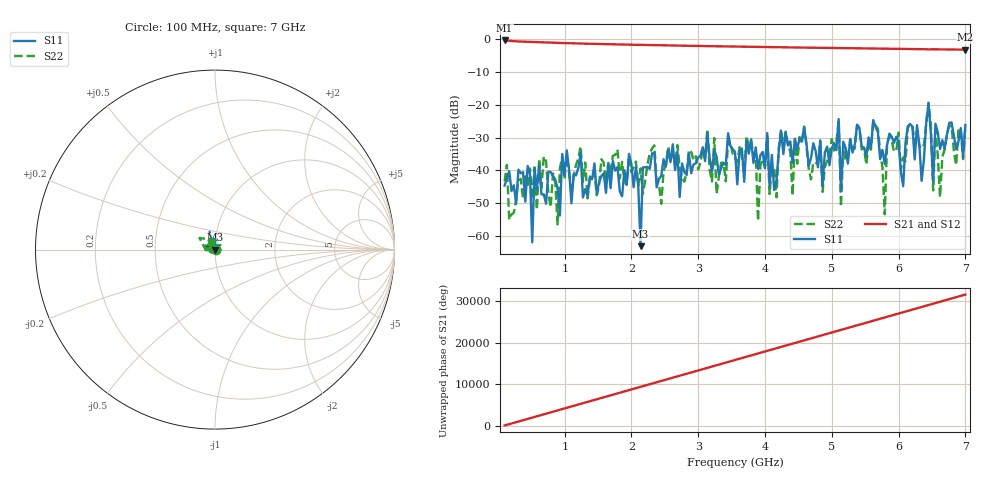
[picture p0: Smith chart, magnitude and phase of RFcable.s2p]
#  HZ  S  DB  R  50.00
! Rohde & Schwarz ZVA24 4Ports - Version 3.12 - 1145.1110k26 SN: 100162
! Date: 2018-05-28 23:10:48
! Measurements: S11 S21 S12 S22
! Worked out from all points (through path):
!   201 points, 100 MHz to 7 GHz, reference 50 ohm
!   highest |S21| = -0.34 dB at 100 MHz (marker M1); lowest = -3.2 dB at 7 GHz (marker M2)
!   lowest |S11| = -63.2 dB at 2.135 GHz (marker M3), VSWR 1.00, Z = 50.1 - j0.0316 ohm
!   |S11| at or under -10 dB: start of sweep to end of sweep
!   |S22| runs from -56.6 to -19.3 dB; largest |S21 - S12| = 0.008
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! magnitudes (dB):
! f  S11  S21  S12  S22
! 100 MHz  -44.7  -0.3  -0.4  -43.4
! 1.273 GHz  -48.3  -1.3  -1.3  -43.6
! 1.963 GHz  -35.0  -1.6  -1.6  -35.5
! 2.135 GHz  -63.2  -1.7  -1.7  -39.4
! 2.17 GHz  -39.1  -1.7  -1.7  -47.3
! 2.412 GHz  -42.7  -1.8  -1.8  -44.4
! 3.55 GHz  -34.3  -2.2  -2.2  -36.1
! 3.861 GHz  -33.0  -2.3  -2.3  -34.8
! 3.895 GHz  -39.6  -2.3  -2.3  -55.5
! 4.033 GHz  -28.7  -2.4  -2.4  -29.4
! 4.723 GHz  -31.8  -2.6  -2.6  -37.6
! 5.103 GHz  -24.4  -2.7  -2.7  -24.4
! 5.137 GHz  -46.3  -2.7  -2.7  -51.1
! 5.62 GHz  -24.7  -2.8  -2.8  -25.2
! 5.793 GHz  -38.1  -2.8  -2.8  -53.4
! 5.862 GHz  -28.8  -2.9  -2.9  -29.6
! 6.345 GHz  -43.3  -3.0  -3.0  -33.3
! 6.448 GHz  -19.7  -3.1  -3.1  -19.3
! 6.517 GHz  -43.6  -3.0  -3.0  -46.2
! 6.551 GHz  -25.8  -3.0  -3.1  -27.7
! 6.62 GHz  -33.5  -3.1  -3.1  -48.2
! 7 GHz  -26.2  -3.2  -3.2  -26.6
